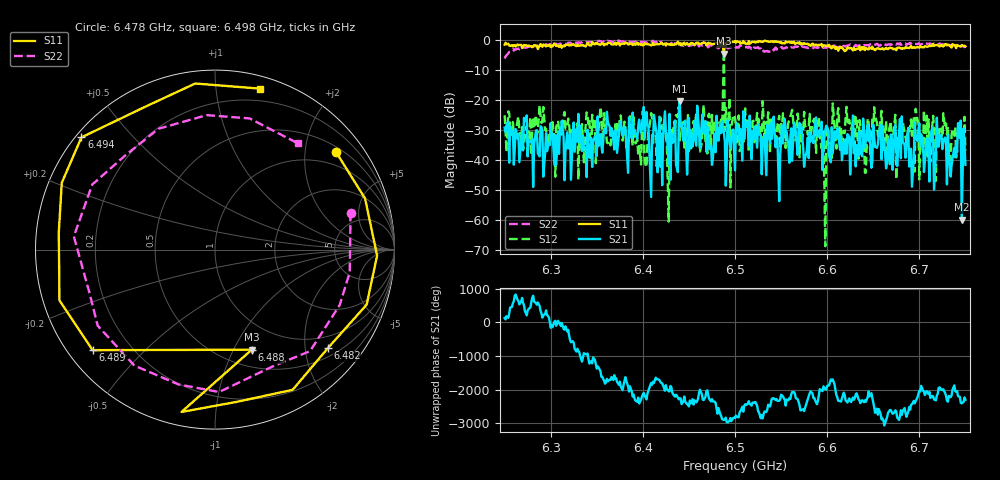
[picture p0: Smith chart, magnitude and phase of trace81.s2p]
# Hz S RI R 50
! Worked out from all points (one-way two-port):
!   401 points, 6.25 GHz to 6.75 GHz, reference 50 ohm
!   highest |S21| = -20.34 dB at 6.44 GHz (marker M1); lowest = -59.9 dB at 6.746 GHz (marker M2)
!   lowest |S11| = -4.5 dB at 6.488 GHz (marker M3), VSWR 3.93, Z = 34.3 - j59.1 ohm
!   |S11| at or under -10 dB: nowhere
!   |S22| runs from -6.2 to -0.2 dB; largest |S21 - S12| = 0.65
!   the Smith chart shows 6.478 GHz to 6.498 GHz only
!   S11 on the Smith chart (normalised r, x): 6.478 GHz: 0.62, +2.70; 6.482 GHz: 0.69, -2.49; 6.488 GHz: 0.69, -1.18; 6.489 GHz: 0.07, -0.36; 6.494 GHz: 0.02, +0.36; 6.498 GHz: 0.10, +1.32
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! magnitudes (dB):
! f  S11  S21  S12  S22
! 6.25 GHz  -1.6  -29.2  -25.1  -6.2
! 6.334 GHz  -1.8  -37.0  -28.0  -0.8
! 6.356 GHz  -1.0  -37.6  -34.3  -0.7
! 6.404 GHz  -1.4  -24.0  -42.4  -0.8
! 6.41 GHz  -1.6  -31.6  -26.0  -0.5
! 6.418 GHz  -1.4  -25.6  -35.0  -1.3
! 6.44 GHz  -1.0  -20.3  -33.9  -1.5
! 6.478 GHz  -1.2  -31.2  -27.2  -2.1
! 6.482 GHz  -1.6  -33.6  -32.6  -2.8
! 6.488 GHz  -4.5  -31.0  -3.4  -2.2
! 6.489 GHz  -1.1  -33.8  -30.3  -2.6
! 6.494 GHz  -0.2  -33.3  -19.2  -2.6
! 6.498 GHz  -0.6  -29.9  -25.4  -2.5
! 6.5 GHz  -0.3  -43.5  -26.0  -2.3
! 6.584 GHz  -1.2  -32.0  -28.0  -2.2
! 6.596 GHz  -1.8  -35.1  -29.9  -2.7
! 6.622 GHz  -2.4  -31.4  -28.1  -1.9
! 6.64 GHz  -2.4  -30.0  -31.6  -1.7
! 6.651 GHz  -3.0  -32.2  -22.4  -1.6
! 6.668 GHz  -2.5  -41.4  -28.8  -1.4
! 6.746 GHz  -1.7  -59.9  -31.4  -1.9
! 6.75 GHz  -2.1  -41.6  -36.9  -2.4
